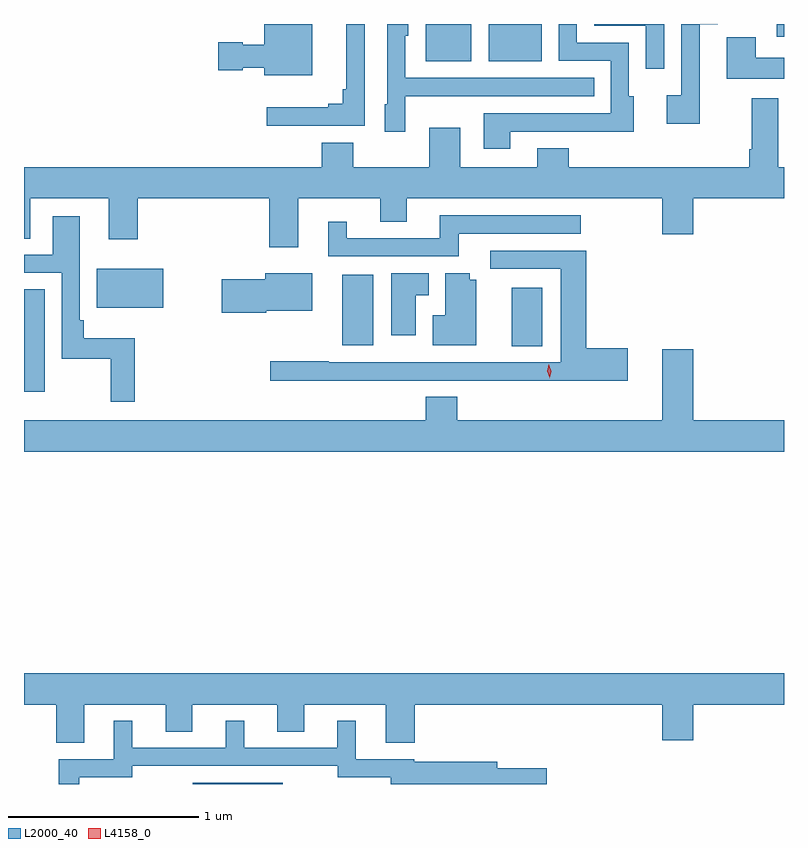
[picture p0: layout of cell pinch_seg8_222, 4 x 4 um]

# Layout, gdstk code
import gdstk
lib = gdstk.Library(unit=1e-6, precision=1e-09)
def R(c, l, rs):  # rectangles x0, y0, x1, y1
    for r in rs: c.add(gdstk.rectangle(r[:2], r[2:], *l))
def P(c, l, *ps):  # polygons
    for p in ps: c.add(gdstk.Polygon(p, *l))
L2000_40 = (2000, 40)
L4158_0 = (4158, 0)

pinch_seg8_222 = lib.new_cell('pinch_seg8_222')
R(pinch_seg8_222, L2000_40, [(666.033,1101.43,666.508,1101.436), (665.145,1103.495,665.254,1104.035), (667.712,1103.734,667.873,1104.043), (666.821,1103.738,666.982,1104.109), (665.528,1103.936,665.878,1104.142), (667.259,1105.235,667.498,1105.43), (667.592,1105.235,667.87,1105.43), (669.107,1105.362,669.145,1105.43)])
P(pinch_seg8_222, L2000_40, [(666.661,1105.43),(666.41,1105.43),(666.41,1105.321),(666.297,1105.321),(666.297,1105.334),(666.168,1105.334),(666.168,1105.187),(666.297,1105.187),(666.297,1105.199),(666.41,1105.199),(666.41,1105.16),(666.661,1105.16)],
  [(668.701,1105.428),(668.797,1105.428),(668.797,1105.43),(668.604,1105.43),(668.604,1105.054),(668.529,1105.054),(668.529,1104.906),(668.701,1104.906)],
  [(666.939,1105.43),(666.842,1105.43),(666.842,1105.087),(666.823,1105.087),(666.823,1105.01),(666.746,1105.01),(666.746,1104.991),(666.423,1104.991),(666.423,1104.894),(666.939,1104.894)],
  [(668.514,1105.43),(668.145,1105.43),(668.145,1105.422),(668.418,1105.422),(668.418,1105.194),(668.514,1105.194)],
  [(667.705,1104.864),(668.135,1104.864),(668.135,1104.863),(668.353,1104.863),(668.353,1105.05),(668.328,1105.05),(668.328,1105.332),(668.055,1105.332),(668.055,1105.43),(667.959,1105.43),(667.959,1105.236),(668.232,1105.236),(668.232,1104.96),(667.565,1104.96),(667.565,1104.774),(667.705,1104.774)],
  [(667.152,1105.049),(667.469,1105.049),(667.469,1105.05),(668.147,1105.05),(668.147,1105.146),(667.152,1105.146),(667.152,1105.368),(667.168,1105.368),(667.168,1105.43),(667.056,1105.43),(667.056,1105.008),(667.043,1105.008),(667.043,1104.864),(667.152,1104.864)],
  [(669.145,1105.252),(668.995,1105.252),(668.995,1105.361),(668.843,1105.361),(668.843,1105.142),(669.145,1105.142)],
  [(666.589,1104.512),(667.019,1104.512),(667.019,1104.388),(667.159,1104.388),(667.159,1104.512),(668.504,1104.512),(668.504,1104.324),(668.668,1104.324),(668.668,1104.512),(669.145,1104.512),(669.145,1104.676),(669.115,1104.676),(669.115,1105.039),(668.975,1105.039),(668.975,1104.772),(668.963,1104.772),(668.963,1104.676),(668.011,1104.676),(668.011,1104.775),(667.847,1104.775),(667.847,1104.676),(667.441,1104.676),(667.441,1104.883),(667.277,1104.883),(667.277,1104.676),(666.877,1104.676),(666.877,1104.805),(666.713,1104.805),(666.713,1104.676),(665.145,1104.676),(665.145,1104.301),(665.179,1104.301),(665.179,1104.512),(665.591,1104.512),(665.591,1104.297),(665.744,1104.297),(665.744,1104.512),(666.437,1104.512),(666.437,1104.255),(666.589,1104.255)],
  [(667.432,1104.327),(668.074,1104.327),(668.074,1104.423),(667.334,1104.423),(667.334,1104.303),(666.844,1104.303),(666.844,1104.388),(666.746,1104.388),(666.746,1104.207),(667.432,1104.207)],
  [(665.729,1103.776),(665.459,1103.776),(665.459,1103.872),(665.439,1103.872),(665.439,1104.418),(665.297,1104.418),(665.297,1104.216),(665.145,1104.216),(665.145,1104.12),(665.343,1104.12),(665.343,1103.667),(665.601,1103.667),(665.601,1103.442),(665.729,1103.442)],
  [(667.175,1103.553),(667.507,1103.553),(667.507,1103.552),(668.323,1103.552),(668.323,1103.723),(668.105,1103.723),(668.105,1104.237),(667.599,1104.237),(667.599,1104.141),(667.97,1104.141),(667.97,1103.649),(666.749,1103.649),(666.749,1103.654),(666.441,1103.654),(666.441,1103.552),(667.175,1103.552)],
  [(667.525,1104.085),(667.491,1104.085),(667.491,1104.118),(667.361,1104.118),(667.361,1103.896),(667.296,1103.896),(667.296,1103.738),(667.525,1103.738)],
  [(667.207,1104.002),(667.276,1104.002),(667.276,1104.118),(667.079,1104.118),(667.079,1103.793),(667.207,1103.793)],
  [(666.42,1103.921),(666.661,1103.921),(666.661,1104.118),(666.416,1104.118),(666.416,1104.087),(666.186,1104.087),(666.186,1103.909),(666.42,1103.909)],
  [(669.145,1103.344),(668.668,1103.344),(668.668,1103.719),(668.504,1103.719),(668.504,1103.344),(667.424,1103.344),(667.424,1103.468),(667.259,1103.468),(667.259,1103.344),(665.145,1103.344),(665.145,1103.18),(669.145,1103.18)],
  [(665.461,1101.848),(665.891,1101.848),(665.891,1101.706),(666.031,1101.706),(666.031,1101.848),(666.479,1101.848),(666.479,1101.706),(666.619,1101.706),(666.619,1101.848),(667.049,1101.848),(667.049,1101.646),(667.202,1101.646),(667.202,1101.848),(668.504,1101.848),(668.504,1101.66),(668.668,1101.66),(668.668,1101.848),(669.145,1101.848),(669.145,1102.012),(665.145,1102.012),(665.145,1101.848),(665.314,1101.848),(665.314,1101.646),(665.461,1101.646)],
  [(665.436,1101.465),(665.715,1101.465),(665.715,1101.525),(666.795,1101.525),(666.795,1101.465),(667.074,1101.465),(667.074,1101.43),(667.897,1101.43),(667.897,1101.513),(667.636,1101.513),(667.636,1101.547),(667.2,1101.547),(667.2,1101.561),(666.892,1101.561),(666.892,1101.763),(666.794,1101.763),(666.794,1101.621),(666.304,1101.621),(666.304,1101.763),(666.206,1101.763),(666.206,1101.621),(665.716,1101.621),(665.716,1101.763),(665.618,1101.763),(665.618,1101.561),(665.328,1101.561),(665.328,1101.43),(665.436,1101.43)])
P(pinch_seg8_222, L4158_0, [(667.911,1103.566),(667.911,1103.567),(667.899,1103.602),(667.907,1103.639),(667.907,1103.639),(667.907,1103.639),(667.919,1103.603),(667.911,1103.567)])

lib.write_gds('pinch_seg8_222.gds')
